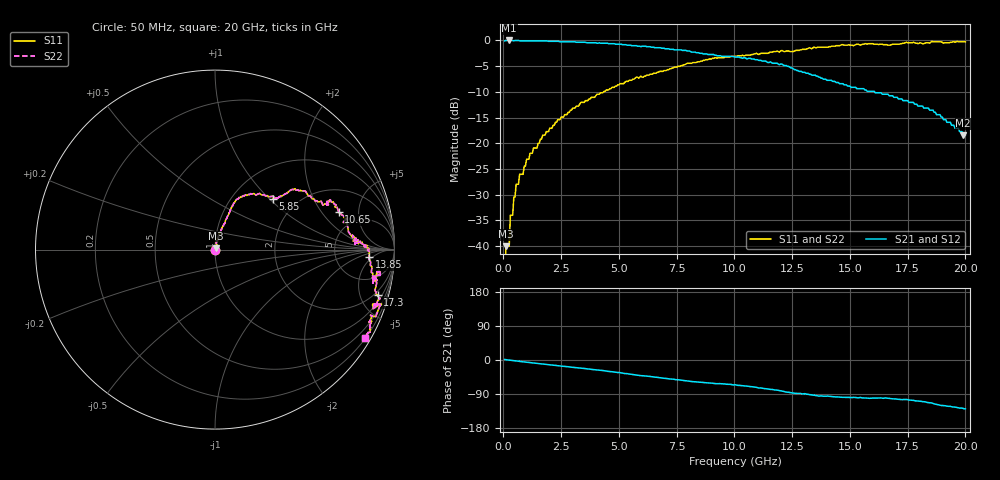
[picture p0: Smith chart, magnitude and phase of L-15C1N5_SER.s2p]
# MHZ S MA R 50
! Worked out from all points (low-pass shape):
!   400 points, 50 MHz to 20 GHz, reference 50 ohm
!   highest |S21| = 0.00 dB at 250 MHz (marker M1); lowest = -18.4 dB at 19.9 GHz (marker M2)
!   |S21| within 3 dB of the highest: start of sweep to 9.41 GHz
!   lowest |S11| = -40.0 dB at 100 MHz (marker M3), VSWR 1.02, Z = 50.5 + j0.881 ohm
!   |S11| at or under -10 dB: start of sweep to 4.331 GHz
!   |S22| runs from - to -0.2 dB; largest |S21 - S12| = 0
!   S11 on the Smith chart (normalised r, x): 50 MHz: 1.00, +0.00; 5.85 GHz: 1.52, +1.05; 10.65 GHz: 3.43, +2.98; 13.85 GHz: 12, -4; 17.3 GHz: 1.60, -6.94; 20 GHz: 0.22, -3.66
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50  0 44.1  0.99 1.4  0.99 1.4  0 44.1
100  0.01 60.7  1 0.9  1 0.9  0.01 60.7
250  0.01 68.3  1 -0.2  1 -0.2  0.01 68.3
300  0.02 73.3  1 -0.6  1 -0.6  0.02 73.3
400  0.02 72.7  1 -1.4  1 -1.4  0.02 72.7
450  0.03 67.2  0.99 -1.7  0.99 -1.7  0.03 67.2
550  0.04 80.6  1 -2.6  1 -2.6  0.04 80.6
1000  0.07 75.2  0.99 -5.8  0.99 -5.8  0.07 75.2
3400  0.25 68.6  0.96 -21.9  0.96 -21.9  0.25 68.6
5850  0.43 41.2  0.88 -40.6  0.88 -40.6  0.43 41.2
6700  0.49 38.5  0.85 -46.3  0.85 -46.3  0.49 38.5
10050  0.7 23.0  0.69 -65.4  0.69 -65.4  0.7 23.0
10650  0.72 16.9  0.67 -69.7  0.67 -69.7  0.72 16.9
11550  0.77 4.9  0.62 -77.6  0.62 -77.6  0.77 4.9
13350  0.83 1.2  0.46 -92.3  0.46 -92.3  0.83 1.2
13850  0.86 -2.8  0.42 -95.6  0.42 -95.6  0.86 -2.8
15050  0.9 -12.0  0.35 -99.2  0.35 -99.2  0.9 -12.0
16700  0.9 -10.1  0.29 -101.4  0.29 -101.4  0.9 -10.1
17300  0.94 -15.6  0.26 -104.4  0.26 -104.4  0.94 -15.6
18600  0.97 -18.9  0.21 -114.7  0.21 -114.7  0.97 -18.9
19900  0.97 -29.5  0.12 -127.8  0.12 -127.8  0.97 -29.5
20000  0.97 -30.5  0.12 -128.9  0.12 -128.9  0.97 -30.5
